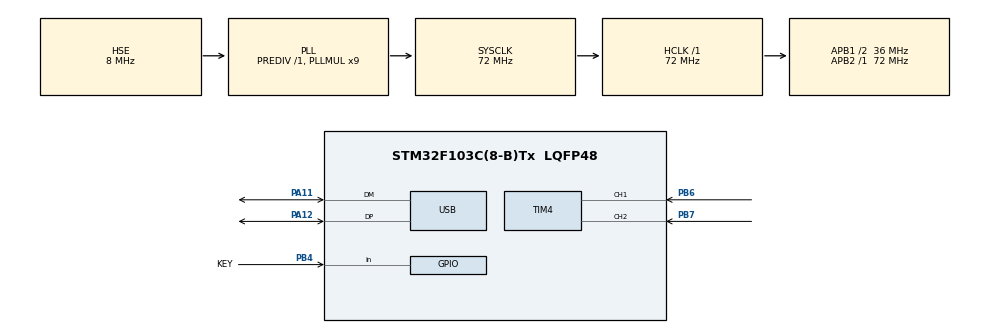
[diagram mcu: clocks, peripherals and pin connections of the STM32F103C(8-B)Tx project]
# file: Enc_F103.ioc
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Mcu.Family=STM32F1
Mcu.Name=STM32F103C(8-B)Tx
Mcu.Package=LQFP48
NVIC.PriorityGroup=NVIC_PRIORITYGROUP_4
NVIC.USB_LP_CAN1_RX0_IRQn=true\:0\:0\:false\:false\:true\:false\:true\:true
PA11.Mode=Device
PA11.Signal=USB_DM
PA12.Mode=Device
PA12.Signal=USB_DP
PA13.Mode=Serial_Wire
PA13.Signal=SYS_JTMS-SWDIO
PA14.Mode=Serial_Wire
PA14.Signal=SYS_JTCK-SWCLK
PB4.GPIO_Label=KEY
PB4.Signal=GPIO_Input
PB6.GPIO_PuPd=GPIO_PULLUP
PB6.Signal=S_TIM4_CH1
PB7.GPIO_PuPd=GPIO_PULLUP
PB7.Signal=S_TIM4_CH2
PD0-OSC_IN.Mode=HSE-External-Oscillator
PD0-OSC_IN.Signal=RCC_OSC_IN
PD1-OSC_OUT.Mode=HSE-External-Oscillator
PD1-OSC_OUT.Signal=RCC_OSC_OUT
ProjectManager.HeapSize=0x200
ProjectManager.StackSize=0x400
ProjectManager.TargetToolchain=EWARM V8
RCC.AHBFreq_Value=72000000
RCC.APB1CLKDivider=RCC_HCLK_DIV2
RCC.APB1Freq_Value=36000000
RCC.APB1TimFreq_Value=72000000
RCC.APB2Freq_Value=72000000
RCC.APB2TimFreq_Value=72000000
RCC.HCLKFreq_Value=72000000
RCC.PLLMUL=RCC_PLL_MUL9
RCC.PLLSourceVirtual=RCC_PLLSOURCE_HSE
RCC.SYSCLKFreq_VALUE=72000000
RCC.SYSCLKSource=RCC_SYSCLKSOURCE_PLLCLK
RCC.USBFreq_Value=48000000
RCC.USBPrescaler=RCC_USBCLKSOURCE_PLL_DIV1_5
SH.S_TIM4_CH1.0=TIM4_CH1,Encoder_Interface
SH.S_TIM4_CH2.0=TIM4_CH2,Encoder_Interface
TIM4.EncoderMode=TIM_ENCODERMODE_TI12
TIM4.IC1Filter=3
TIM4.IC2Filter=3
USB_DEVICE.CLASS_NAME_FS=CDC
USB_DEVICE.USBD_MAX_STR_DESC_SIZ=256
USB_DEVICE.VirtualMode=Cdc
USB_DEVICE.VirtualModeFS=Cdc_FS
VP_USB_DEVICE_VS_USB_DEVICE_CDC_FS.Mode=CDC_FS
board=custom

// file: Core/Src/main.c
/* USER CODE BEGIN Header */
/**
  ******************************************************************************
  * @file           : main.c
  * @brief          : Main program body
  ******************************************************************************
  * @attention
  *
  * <h2><center>&copy; Copyright (c) 2022 STMicroelectronics.
  * All rights reserved.</center></h2>
  *
  * This software component is licensed by ST under Ultimate Liberty license
  * SLA0044, the "License"; You may not use this file except in compliance with
  * the License. You may obtain a copy of the License at:
  *                             www.st.com/SLA0044
  *
  ******************************************************************************
  */
/* USER CODE END Header */
#include "main.h"
#include "usb_device.h"

/* USER CODE BEGIN Includes */
#include "usbd_cdc_if.h"
/* USER CODE END Includes */

TIM_HandleTypeDef htim4;

/* USER CODE BEGIN PV */
char TX_Buff[11] = {0};
signed short count = 0;
int res = 0;
int multipler = 0;
/* USER CODE END PV */

void SystemClock_Config(void);
static void MX_GPIO_Init(void);
static void MX_TIM4_Init(void);

/* USER CODE BEGIN 0 */
void transmit()
{
  while(CDC_Transmit_FS((uint8_t*)TX_Buff, strlen(TX_Buff)) == USBD_BUSY);
  while(CDC_Transmit_FS("_", 1) == USBD_BUSY);
  while(CDC_Transmit_FS((uint8_t*)TX_Buff, strlen(TX_Buff)) == USBD_BUSY);
  while(CDC_Transmit_FS("\r", 1) == USBD_BUSY);
  while(CDC_Transmit_FS("\n", 1) == USBD_BUSY);
}
/* USER CODE END 0 */

int main(void)
{

  /* MCU Configuration--------------------------------------------------------*/

  /* Reset of all peripherals, Initializes the Flash interface and the Systick. */
  HAL_Init();

  /* Configure the system clock */
  SystemClock_Config();

  /* Initialize all configured peripherals */
  MX_GPIO_Init();
  MX_TIM4_Init();
  MX_USB_DEVICE_Init();
  /* USER CODE BEGIN 2 */
  uint16_t debounce = 0;
  HAL_TIM_Encoder_Start(&htim4, TIM_CHANNEL_1);
  /* USER CODE END 2 */

  /* Infinite loop */
  /* USER CODE BEGIN WHILE */
  while (1)
  {
    if (HAL_GPIO_ReadPin(KEY_GPIO_Port, KEY_Pin) == 0)
    {
      while(HAL_GPIO_ReadPin(KEY_GPIO_Port, KEY_Pin) == 0)
      {
        debounce++;
      }
      if (debounce >= 300)
      {
        TIM4->CNT = 0;
        count = 0;
        multipler = 0;
      }
      debounce = 0;
    }
    count = __HAL_TIM_GET_COUNTER(&htim4);
    if (count > 30999)
    {
      multipler += 31000;
      TIM4->CNT = 0;
      count = 0;
    }
    else if (count < -30999)
    {
      multipler -= 31000;
      TIM4->CNT = 0;
      count = 0;
    }
    res = multipler + count;
    sprintf(TX_Buff, "%d", res);
    transmit();
    HAL_Delay(1);
    /* USER CODE END WHILE */

  }
}

void SystemClock_Config(void)
{
  RCC_OscInitTypeDef RCC_OscInitStruct = {0};
  RCC_ClkInitTypeDef RCC_ClkInitStruct = {0};
  RCC_PeriphCLKInitTypeDef PeriphClkInit = {0};

  /** Initializes the RCC Oscillators according to the specified parameters
  * in the RCC_OscInitTypeDef structure.
  */
  RCC_OscInitStruct.OscillatorType = RCC_OSCILLATORTYPE_HSE;
  RCC_OscInitStruct.HSEState = RCC_HSE_ON;
  RCC_OscInitStruct.HSEPredivValue = RCC_HSE_PREDIV_DIV1;
  RCC_OscInitStruct.HSIState = RCC_HSI_ON;
  RCC_OscInitStruct.PLL.PLLState = RCC_PLL_ON;
  RCC_OscInitStruct.PLL.PLLSource = RCC_PLLSOURCE_HSE;
  RCC_OscInitStruct.PLL.PLLMUL = RCC_PLL_MUL9;
  if (HAL_RCC_OscConfig(&RCC_OscInitStruct) != HAL_OK)
  {
    Error_Handler();
  }
  /** Initializes the CPU, AHB and APB buses clocks
  */
  RCC_ClkInitStruct.ClockType = RCC_CLOCKTYPE_HCLK|RCC_CLOCKTYPE_SYSCLK
                              |RCC_CLOCKTYPE_PCLK1|RCC_CLOCKTYPE_PCLK2;
  RCC_ClkInitStruct.SYSCLKSource = RCC_SYSCLKSOURCE_PLLCLK;
  RCC_ClkInitStruct.AHBCLKDivider = RCC_SYSCLK_DIV1;
  RCC_ClkInitStruct.APB1CLKDivider = RCC_HCLK_DIV2;
  RCC_ClkInitStruct.APB2CLKDivider = RCC_HCLK_DIV1;

  if (HAL_RCC_ClockConfig(&RCC_ClkInitStruct, FLASH_LATENCY_2) != HAL_OK)
  {
    Error_Handler();
  }
  PeriphClkInit.PeriphClockSelection = RCC_PERIPHCLK_USB;
  PeriphClkInit.UsbClockSelection = RCC_USBCLKSOURCE_PLL_DIV1_5;
  if (HAL_RCCEx_PeriphCLKConfig(&PeriphClkInit) != HAL_OK)
  {
    Error_Handler();
  }
}

static void MX_TIM4_Init(void)
{

  TIM_Encoder_InitTypeDef sConfig = {0};
  TIM_MasterConfigTypeDef sMasterConfig = {0};

  htim4.Instance = TIM4;
  htim4.Init.Prescaler = 0;
  htim4.Init.CounterMode = TIM_COUNTERMODE_UP;
  htim4.Init.Period = 65535;
  htim4.Init.ClockDivision = TIM_CLOCKDIVISION_DIV1;
  htim4.Init.AutoReloadPreload = TIM_AUTORELOAD_PRELOAD_DISABLE;
  sConfig.EncoderMode = TIM_ENCODERMODE_TI12;
  sConfig.IC1Polarity = TIM_ICPOLARITY_RISING;
  sConfig.IC1Selection = TIM_ICSELECTION_DIRECTTI;
  sConfig.IC1Prescaler = TIM_ICPSC_DIV1;
  sConfig.IC1Filter = 3;
  sConfig.IC2Polarity = TIM_ICPOLARITY_RISING;
  sConfig.IC2Selection = TIM_ICSELECTION_DIRECTTI;
  sConfig.IC2Prescaler = TIM_ICPSC_DIV1;
  sConfig.IC2Filter = 3;
  if (HAL_TIM_Encoder_Init(&htim4, &sConfig) != HAL_OK)
  {
    Error_Handler();
  }
  sMasterConfig.MasterOutputTrigger = TIM_TRGO_RESET;
  sMasterConfig.MasterSlaveMode = TIM_MASTERSLAVEMODE_DISABLE;
  if (HAL_TIMEx_MasterConfigSynchronization(&htim4, &sMasterConfig) != HAL_OK)
  {
    Error_Handler();
  }

}

static void MX_GPIO_Init(void)
{
  GPIO_InitTypeDef GPIO_InitStruct = {0};

  /* GPIO Ports Clock Enable */
  __HAL_RCC_GPIOD_CLK_ENABLE();
  __HAL_RCC_GPIOA_CLK_ENABLE();
  __HAL_RCC_GPIOB_CLK_ENABLE();

  /*Configure GPIO pin : KEY_Pin */
  GPIO_InitStruct.Pin = KEY_Pin;
  GPIO_InitStruct.Mode = GPIO_MODE_INPUT;
  GPIO_InitStruct.Pull = GPIO_NOPULL;
  HAL_GPIO_Init(KEY_GPIO_Port, &GPIO_InitStruct);

}

void Error_Handler(void)
{
  __disable_irq();
  while (1)
  {
  }
}

/************************ (C) COPYRIGHT STMicroelectronics *****END OF FILE****/
